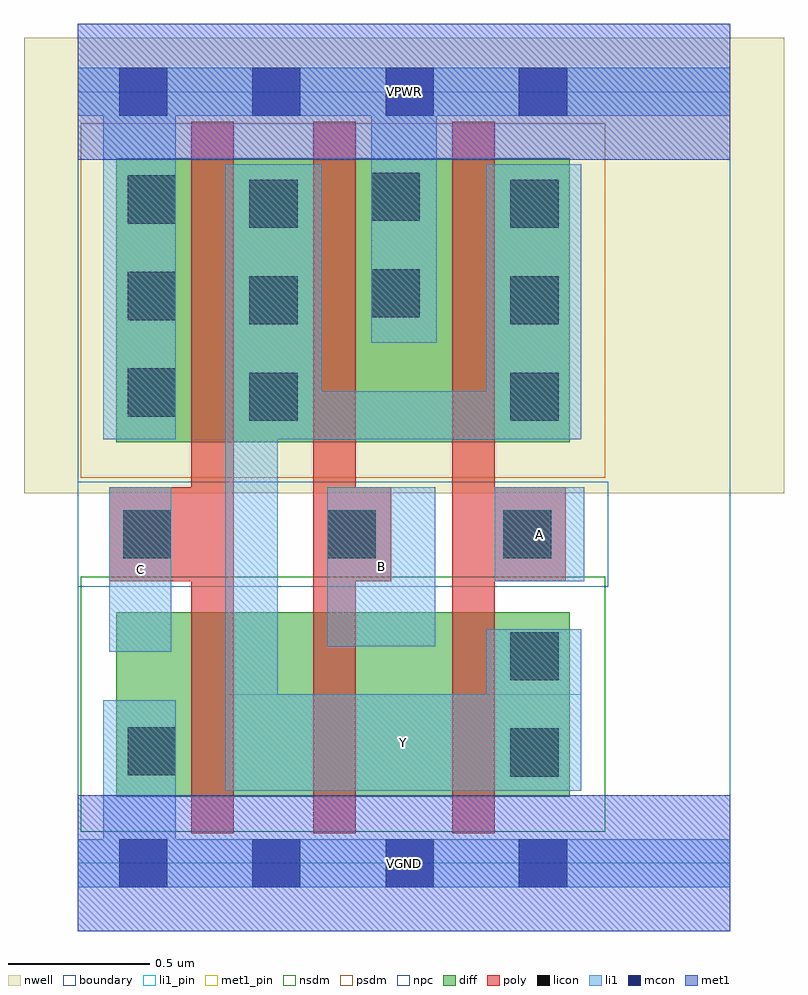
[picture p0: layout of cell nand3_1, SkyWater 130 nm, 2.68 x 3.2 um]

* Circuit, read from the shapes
.subckt nand3_1 A B C VGND VPWR Y
XM1 n1 C VGND VSUBS sky130_fd_pr__nfet_01v8 w=0.65 l=0.15
XM2 n2 B n1 VSUBS sky130_fd_pr__nfet_01v8 w=0.65 l=0.15
XM3 Y A n2 VSUBS sky130_fd_pr__nfet_01v8 w=0.65 l=0.15
XM4 Y C VPWR n3 sky130_fd_pr__pfet_01v8 w=1 l=0.15
XM5 VPWR B Y n3 sky130_fd_pr__pfet_01v8 w=1 l=0.15
XM6 Y A VPWR n3 sky130_fd_pr__pfet_01v8 w=1 l=0.15
.ends

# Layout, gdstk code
import gdstk
lib = gdstk.Library(unit=1e-6, precision=1e-09)
def R(c, l, rs):  # rectangles x0, y0, x1, y1
    for r in rs: c.add(gdstk.rectangle(r[:2], r[2:], *l))
def A(c, l, x, y, w, h, nx, ny, dx, dy):  # array of equal rectangles
    R(c, l, [(x+i*dx, y+j*dy, x+i*dx+w, y+j*dy+h) for i in range(nx) for j in range(ny)])
nwell = (64, 20)
diff = (65, 20)
poly = (66, 20)
licon = (66, 44)
li1_pin = (67, 16)
li1 = (67, 20)
mcon = (67, 44)
met1_pin = (68, 16)
met1 = (68, 20)
nsdm = (93, 44)
psdm = (94, 20)
npc = (95, 20)
boundary = (235, 4)

nand3_1 = lib.new_cell('nand3_1')
R(nand3_1, nwell, [(-0.19,1.305,2.49,2.91), (0,1.305,2.3,2.91)])
R(nand3_1, diff, [(0.135,0.235,1.735,0.885), (0.135,1.485,1.735,2.485)])
R(nand3_1, poly, [(0.4,0.105,0.55,2.615), (0.83,0.105,0.98,2.615), (1.32,0.105,1.47,2.615), (0.11,0.995,0.55,1.325), (0.83,0.995,1.105,1.325), (1.32,0.995,1.72,1.325)])
A(nand3_1, licon, 0.605, 1.56, 0.17, 0.17, 1, 3, 0, 0.34)
A(nand3_1, licon, 1.525, 1.56, 0.17, 0.17, 1, 3, 0, 0.34)
A(nand3_1, licon, 0.175, 1.575, 0.17, 0.17, 1, 3, 0, 0.34)
R(nand3_1, licon, [(1.525,0.305,1.695,0.475), (0.175,0.31,0.345,0.48), (1.525,0.645,1.695,0.815), (0.16,1.075,0.33,1.245), (0.88,1.075,1.05,1.245), (1.5,1.075,1.67,1.245), (1.035,1.925,1.205,2.095), (1.035,2.265,1.205,2.435)])
R(nand3_1, li1_pin, [(0.52,0.255,1.775,0.595), (0.11,0.745,0.33,1.325), (0.88,0.765,1.26,1.325), (1.47,0.995,1.785,1.325)])
R(nand3_1, li1, [(0,-0.085,2.3,0.085), (0.09,-0.085,0.345,0.575), (0.52,0.255,1.775,0.595), (0.52,0.255,0.705,2.465), (1.44,0.255,1.775,0.825), (0.11,0.745,0.33,1.325), (0.88,0.765,1.26,1.325), (1.47,0.995,1.785,1.325), (0.09,1.495,0.345,2.805), (0.52,1.495,0.86,2.465), (0.52,1.495,1.775,1.665), (1.44,1.495,1.775,2.465), (1.035,1.835,1.265,2.805), (0,2.635,2.3,2.805)])
A(nand3_1, mcon, 0.145, -0.085, 0.17, 0.17, 4, 2, 0.47, 2.72)
R(nand3_1, met1_pin, [(0,-0.24,2.3,0.24), (0,2.48,2.3,2.96)])
R(nand3_1, met1, [(0,-0.24,2.3,0.24), (0,2.48,2.3,2.96)])
R(nand3_1, nsdm, [(0.01,0.11,1.86,1.01)])
R(nand3_1, psdm, [(0.01,1.36,1.86,2.61)])
R(nand3_1, npc, [(0,0.975,1.87,1.345)])
R(nand3_1, boundary, [(0,0,2.3,2.72)])
nand3_1.add(gdstk.Label('A', (1.627,1.16), layer=67, texttype=5))
nand3_1.add(gdstk.Label('B', (1.07,1.045), layer=67, texttype=5))
nand3_1.add(gdstk.Label('C', (0.22,1.035), layer=67, texttype=5))
nand3_1.add(gdstk.Label('Y', (1.147,0.425), layer=67, texttype=5))
nand3_1.add(gdstk.Label('VPWR', (1.15,2.72), layer=68, texttype=5))
nand3_1.add(gdstk.Label('VGND', (1.15,0), layer=68, texttype=5))
nand3_1.add(gdstk.Label('A', (1.627,1.16), layer=67, texttype=16))
nand3_1.add(gdstk.Label('B', (1.07,1.045), layer=67, texttype=16))
nand3_1.add(gdstk.Label('C', (0.22,1.035), layer=67, texttype=16))
nand3_1.add(gdstk.Label('Y', (1.147,0.425), layer=67, texttype=16))
nand3_1.add(gdstk.Label('VPWR', (1.15,2.72), layer=68, texttype=16))
nand3_1.add(gdstk.Label('VGND', (1.15,0), layer=68, texttype=16))

lib.write_gds('nand3_1.gds')
